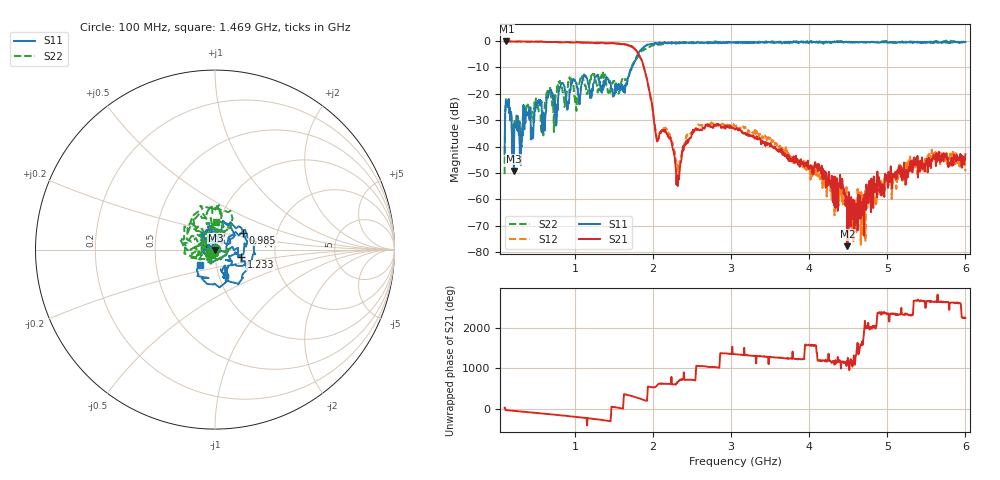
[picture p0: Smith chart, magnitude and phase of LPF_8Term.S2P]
!Created with skrf (http://scikit-rf.org).
# MHz S RI R 50.0
!freq ReS11 ImS11 ReS21 ImS21 ReS12 ImS12 ReS22 ImS22
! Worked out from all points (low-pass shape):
!   1001 points, 100 MHz to 6 GHz, reference 50 ohm
!   highest |S21| = -0.11 dB at 123.6 MHz (marker M1); lowest = -77.8 dB at 4.49 GHz (marker M2)
!   |S21| within 3 dB of the highest: start of sweep to 1.769 GHz
!   lowest |S11| = -49.2 dB at 218 MHz (marker M3), VSWR 1.01, Z = 50.2 - j0.277 ohm
!   |S11| at or under -10 dB: start of sweep to 1.733 GHz
!   |S22| runs from -50.4 to 0.2 dB; largest |S21 - S12| = 0.069
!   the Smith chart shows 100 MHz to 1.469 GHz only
!   S11 on the Smith chart (normalised r, x): 100 MHz: 1.00, +0.01; 985 MHz: 1.34, +0.26; 1.233 GHz: 1.34, -0.12; 1.469 GHz: 0.84, -0.14
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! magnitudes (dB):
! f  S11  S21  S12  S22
! 100 MHz  -42.9  -0.2  -0.1  -50.4
! 123.6 MHz  -23.4  -0.1  -0.1  -23.3
! 218 MHz  -49.2  -0.2  -0.2  -43.4
! 802.1 MHz  -18.3  -0.4  -0.5  -15.9
! 985 MHz  -14.7  -0.6  -0.5  -18.0
! 1.085 GHz  -16.4  -0.5  -0.7  -13.4
! 1.233 GHz  -16.3  -0.7  -0.8  -12.6
! 1.469 GHz  -18.5  -0.8  -0.9  -16.3
! 1.64 GHz  -19.6  -1.1  -1.2  -14.8
! 1.835 GHz  -3.5  -6.3  -6.2  -4.5
! 2.071 GHz  -0.9  -37.1  -36.5  -1.4
! 2.206 GHz  -0.6  -36.6  -35.3  -0.7
! 2.318 GHz  -0.6  -55.0  -47.6  -0.8
! 2.531 GHz  -0.7  -33.8  -34.0  -0.5
! 3.05 GHz  -0.6  -33.6  -32.3  -0.5
! 4.035 GHz  -0.6  -47.6  -50.9  -0.5
! 4.407 GHz  -0.5  -54.3  -58.0  -0.2
! 4.49 GHz  -0.4  -77.8  -63.2  -0.4
! 4.69 GHz  -0.3  -60.9  -67.3  -0.5
! 5.021 GHz  -0.5  -51.2  -54.1  -0.3
! 5.552 GHz  -0.6  -45.9  -44.6  -0.3
! 6 GHz  -0.3  -42.9  -49.3  -0.3
